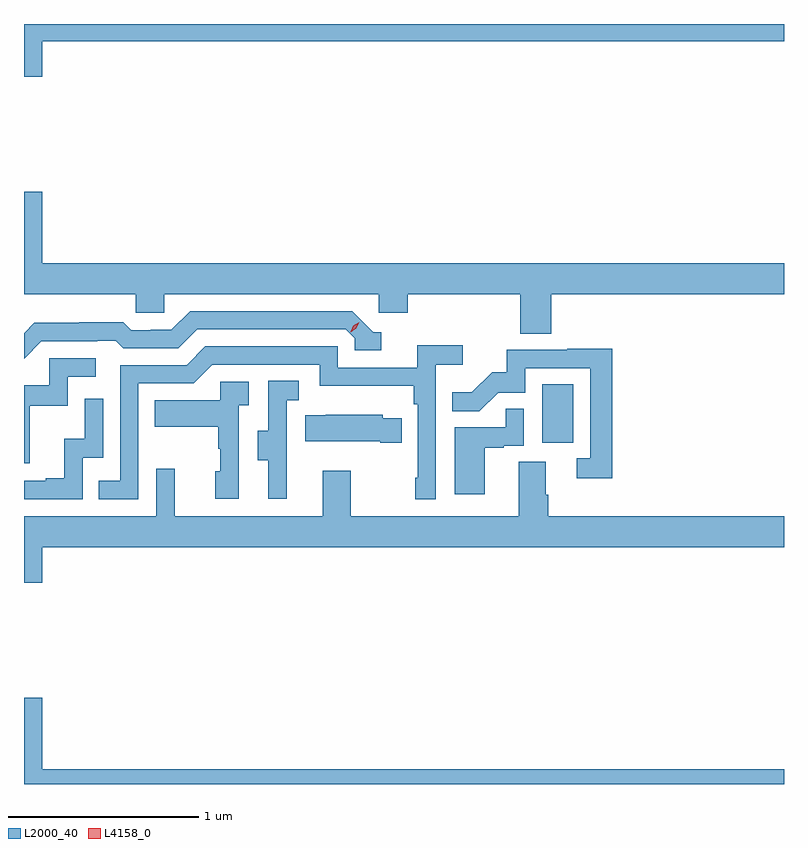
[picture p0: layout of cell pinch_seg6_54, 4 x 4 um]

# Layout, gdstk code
import gdstk
lib = gdstk.Library(unit=1e-6, precision=1e-09)
def R(c, l, rs):  # rectangles x0, y0, x1, y1
    for r in rs: c.add(gdstk.rectangle(r[:2], r[2:], *l))
def P(c, l, *ps):  # polygons
    for p in ps: c.add(gdstk.Polygon(p, *l))
L2000_40 = (2000, 40)
L4158_0 = (4158, 0)

pinch_seg6_54 = lib.new_cell('pinch_seg6_54')
R(pinch_seg6_54, L2000_40, [(1006.964,937.23,1007.128,937.537)])
P(pinch_seg6_54, L2000_40, [(1004.332,939.344),(1008.236,939.344),(1008.236,939.434),(1004.236,939.434),(1004.236,939.156),(1004.332,939.156)],
  [(1007.012,938.012),(1008.236,938.012),(1008.236,938.176),(1004.332,938.176),(1004.332,938.551),(1004.236,938.551),(1004.236,938.012),(1004.823,938.012),(1004.823,937.914),(1004.973,937.914),(1004.973,938.012),(1006.104,938.012),(1006.104,937.914),(1006.256,937.914),(1006.256,938.012),(1006.847,938.012),(1006.847,937.804),(1007.012,937.804)],
  [(1004.328,937.764),(1004.621,937.764),(1004.621,937.767),(1004.72,937.767),(1004.759,937.728),(1005.048,937.728),(1005.147,937.827),(1005.93,937.827),(1005.978,937.779),(1005.978,937.716),(1006.117,937.716),(1006.117,937.812),(1006.074,937.812),(1005.963,937.923),(1005.11,937.923),(1005.011,937.824),(1004.904,937.824),(1004.904,937.821),(1004.801,937.821),(1004.759,937.864),(1004.526,937.864),(1004.526,937.861),(1004.29,937.861),(1004.236,937.807),(1004.236,937.672)],
  [(1004.838,937.542),(1005.129,937.542),(1005.228,937.641),(1005.792,937.641),(1005.792,937.529),(1006.288,937.529),(1006.288,937.433),(1006.308,937.433),(1006.308,937.045),(1006.296,937.045),(1006.296,936.933),(1006.404,936.933),(1006.404,937.64),(1006.546,937.64),(1006.546,937.742),(1006.307,937.742),(1006.307,937.626),(1005.888,937.626),(1005.888,937.737),(1005.191,937.737),(1005.092,937.638),(1004.742,937.638),(1004.742,937.029),(1004.629,937.029),(1004.629,936.933),(1004.838,936.933)],
  [(1007.333,937.724),(1007.095,937.724),(1007.095,937.719),(1006.777,937.719),(1006.777,937.602),(1006.7,937.602),(1006.593,937.495),(1006.489,937.495),(1006.489,937.396),(1006.633,937.396),(1006.731,937.494),(1006.875,937.494),(1006.875,937.623),(1007.217,937.623),(1007.217,937.149),(1007.145,937.149),(1007.145,937.044),(1007.333,937.044)],
  [(1004.267,937.425),(1004.466,937.425),(1004.466,937.578),(1004.614,937.578),(1004.614,937.674),(1004.37,937.674),(1004.37,937.533),(1004.236,937.533),(1004.236,937.122),(1004.267,937.122)],
  [(1005.62,937.149),(1005.618,937.149),(1005.618,937.453),(1005.682,937.453),(1005.682,937.556),(1005.522,937.556),(1005.522,937.293),(1005.467,937.293),(1005.467,937.138),(1005.521,937.138),(1005.521,936.936),(1005.62,936.936)],
  [(1005.366,937.427),(1005.418,937.427),(1005.418,937.551),(1005.27,937.551),(1005.27,937.453),(1004.923,937.453),(1004.923,937.313),(1005.258,937.313),(1005.258,937.199),(1005.268,937.199),(1005.268,937.08),(1005.242,937.08),(1005.242,936.936),(1005.366,936.936)],
  [(1004.544,937.152),(1004.652,937.152),(1004.652,937.462),(1004.556,937.462),(1004.556,937.25),(1004.447,937.25),(1004.447,937.042),(1004.351,937.042),(1004.351,937.029),(1004.236,937.029),(1004.236,936.933),(1004.544,936.933)],
  [(1006.66,937.203),(1006.76,937.203),(1006.76,937.215),(1006.866,937.215),(1006.866,937.409),(1006.771,937.409),(1006.771,937.311),(1006.502,937.311),(1006.502,936.96),(1006.66,936.96)],
  [(1006.223,937.36),(1006.125,937.36),(1006.125,937.378),(1005.823,937.378),(1005.823,937.375),(1005.715,937.375),(1005.715,937.238),(1006.112,937.238),(1006.112,937.231),(1006.223,937.231)],
  [(1004.332,936.68),(1008.236,936.68),(1008.236,936.844),(1006.994,936.844),(1006.994,936.956),(1006.981,936.956),(1006.981,937.13),(1006.841,937.13),(1006.841,936.844),(1005.957,936.844),(1005.957,937.084),(1005.809,937.084),(1005.809,936.844),(1005.029,936.844),(1005.029,937.093),(1004.931,937.093),(1004.931,936.844),(1004.236,936.844),(1004.236,936.492),(1004.332,936.492)],
  [(1008.236,935.512),(1004.332,935.512),(1004.332,935.887),(1004.236,935.887),(1004.236,935.434),(1008.236,935.434)])
P(pinch_seg6_54, L4158_0, [(1005.955,937.812),(1005.955,937.813),(1005.97,937.845),(1006.001,937.865),(1006.001,937.865),(1006.001,937.865),(1005.985,937.832),(1005.955,937.812)])

lib.write_gds('pinch_seg6_54.gds')
